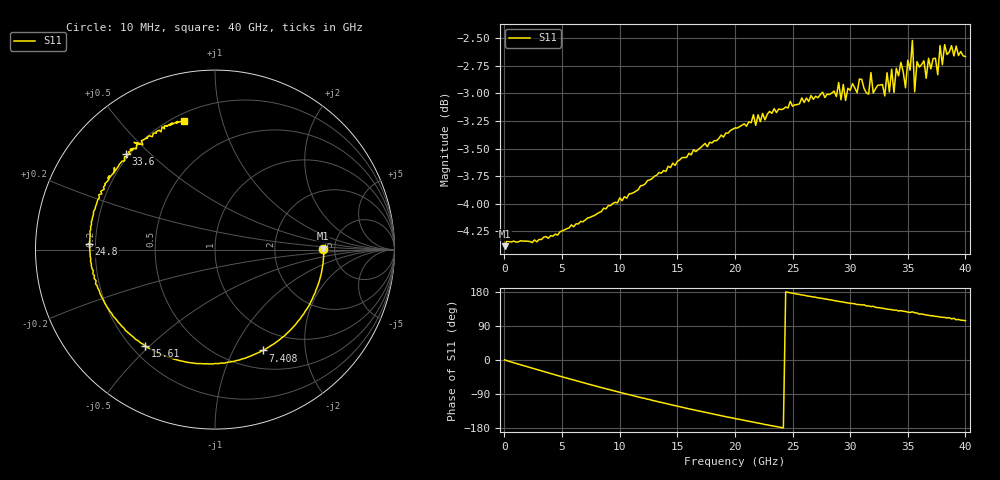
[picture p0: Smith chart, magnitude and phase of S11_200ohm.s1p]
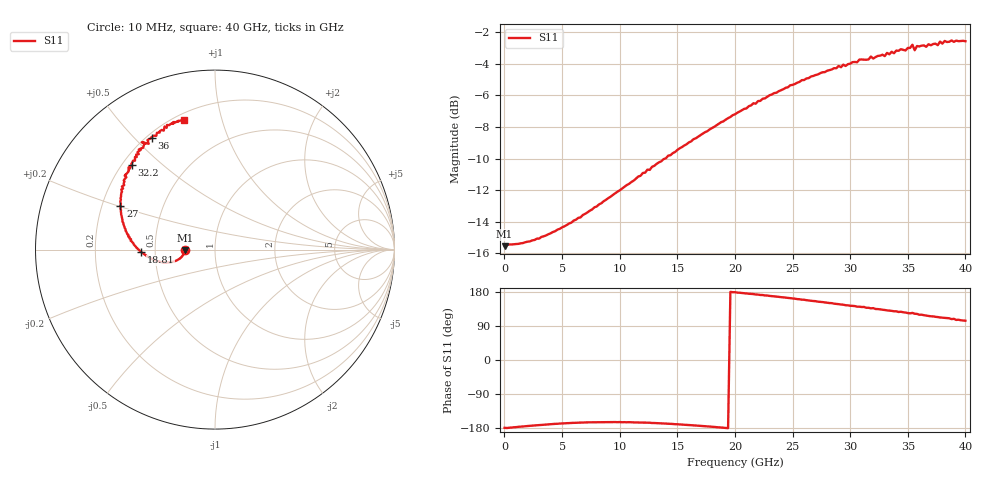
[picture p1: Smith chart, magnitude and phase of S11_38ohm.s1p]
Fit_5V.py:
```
"""
-5 V S11 fitting (Option B procedure) + freq response verification
===================================================================
Cj = 161 fF (C-V @ -5 V, fixed). Rs, C_CPW, FEM L_Rp: bias-independent, locked.
Fit: L_total (common) + L_CPW2 (38, 60) over full 40 GHz S11.
Consistency check vs -7 V fit (L should be bias-independent).
"""
import numpy as np, pandas as pd, os
import matplotlib.pyplot as plt
from scipy.optimize import differential_evolution, minimize

# ── Paper H_ph (locked) ─────────────────────────────────────────────
W_A=480e-9; W_C=980e-9; W=W_A+W_C
tau_A=3.530e-12; tau_C=2.880e-12; tau_R=0.070e-12
def H_ph(w):
    sinc=lambda x: np.sinc(x/np.pi)
    return (W_A*(2+1j*w*tau_R)/(2*(1+1j*w*tau_R))+W_C*sinc(w*tau_C/2)*np.exp(-1j*w*tau_C/2))/(W*(1+1j*w*tau_A))

C_CPW=46.53e-15; R_L=50.0; Rs=8.92
Cj = 161.0e-15    # C-V @ -5 V (user)

def _Y_Rp(w,Rp,Lrp):
    return 0.0 if np.isinf(Rp) else 1.0/(Rp+1j*w*Lrp)
def sim_S11(w,Rp,Lcpw,Lrp,Lcpw2):
    Zs=Rs+1j*w*Lcpw2
    Z_dev=Zs+1/(1j*w*Cj)
    Y_n=1j*w*C_CPW+_Y_Rp(w,Rp,Lrp)+1/Z_dev
    Z_in=1j*w*Lcpw+1/Y_n
    return (Z_in-50)/(Z_in+50)
def H_ckt(w,Rp,Lcpw,Lrp,Lcpw2):
    Zs=Rs+1j*w*Lcpw2
    Y_A=1j*w*C_CPW+_Y_Rp(w,Rp,Lrp)+1/(1j*w*Lcpw+R_L)
    return (R_L/(1j*w*Lcpw+R_L))/(1j*w*Cj+Y_A*(1+1j*w*Cj*Zs))
def get_bw(f,Hd):
    idx=np.where(Hd<=-3)[0]
    return f[idx[0]]/1e9 if len(idx) else np.nan

# ── Load -5 V S1P ───────────────────────────────────────────────────
def load_s1p(path):
    rows=[]
    with open(path) as f:
        for line in f:
            line=line.strip()
            if not line or line.startswith(('!','#')): continue
            p=line.split()
            if len(p)>=3: rows.append([float(p[0]),float(p[1]),float(p[2])])
    a=np.array(rows)
    S=10**(a[:,1]/20)*np.exp(1j*np.deg2rad(a[:,2]))
    return a[:,0], S

configs=[
    dict(lbl='Rp=200Ω', Rp=200.0, s1p='data_5V_5mA/S11_200ohm.s1p', fr='data_5V_5mA/200ohm.xlsx',
         col='#888888', mk='D', Lrp=153.7e-12, has_L2=False),
    dict(lbl='Rp=38Ω',  Rp=38.0,  s1p='data_5V_5mA/S11_38ohm.s1p',  fr='data_5V_5mA/38ohm.xlsx',
         col='#1B998B', mk='o', Lrp=65.6e-12,  has_L2=True),
    dict(lbl='Rp=60Ω',  Rp=60.0,  s1p='data_5V_5mA/S11_60ohm.s1p',  fr='data_5V_5mA/60ohm.xlsx',
         col='#FF8C00', mk='s', Lrp=71.8e-12,  has_L2=True),
    dict(lbl='Open',    Rp=np.inf,s1p='data_5V_5mA/S11_WO.s1p',     fr='data_5V_5mA/WO.xlsx',
         col='#E91E8C', mk='^', Lrp=0.0,       has_L2=False),
]
for cfg in configs:
    fr,S=load_s1p(cfg['s1p'])
    cfg['fs11']=fr; cfg['S11m']=S; cfg['ws']=2*np.pi*fr

def load_fr(path):
    df=pd.read_excel(path,header=14)
    f=pd.to_numeric(df.iloc[:,0],errors='coerce'); cal=pd.to_numeric(df.iloc[:,6],errors='coerce')
    m=f.notna()&cal.notna(); f,cal=f[m].values*1e9,cal[m].values
    pm=cal-cal[0]; keep=pm<2.0
    return f[keep],pm[keep]

# ── Option B fit at -5 V: [L_total, L2_38, L2_60] ───────────────────
def cost(p):
    L_tot,L2_38,L2_60=p
    if L2_38<0 or L2_60<0 or L2_38>L_tot or L2_60>L_tot: return 1e6
    tot=0.0
    for cfg in configs:
        L2 = L2_38 if cfg['lbl']=='Rp=38Ω' else (L2_60 if cfg['lbl']=='Rp=60Ω' else 0.0)
        S=sim_S11(cfg['ws'],cfg['Rp'],L_tot-L2,cfg['Lrp'],L2)
        tot+=np.mean(np.abs(S-cfg['S11m'])**2)
    return tot

bounds=[(120e-12,300e-12),(0,120e-12),(0,120e-12)]
res=differential_evolution(cost,bounds,seed=42,maxiter=3000,tol=1e-16,polish=False)
pol=minimize(cost,res.x,method='L-BFGS-B',bounds=bounds,
             options={'ftol':1e-20,'gtol':1e-16,'maxiter':50000})
L_tot,L2_38,L2_60=pol.x

print('='*100)
print(f'-5 V S11 fit (Option B)  |  Cj={Cj*1e15:.0f} fF fixed, FEM L_Rp, Rs={Rs}, C_CPW={C_CPW*1e15:.2f} fF')
print('='*100)
print(f'{"Param":>14} | {"-5 V fit":>10} | {"-7 V fit":>10} | consistency')
print('-'*60)
print(f'{"L_total":>14} | {L_tot*1e12:>8.1f}pH | {197.9:>8.1f}pH | Δ={L_tot*1e12-197.9:+.1f} pH')
print(f'{"L_CPW2 (38Ω)":>14} | {L2_38*1e12:>8.1f}pH | {56.3:>8.1f}pH | Δ={L2_38*1e12-56.3:+.1f} pH')
print(f'{"L_CPW2 (60Ω)":>14} | {L2_60*1e12:>8.1f}pH | {48.0:>8.1f}pH | Δ={L2_60*1e12-48.0:+.1f} pH')

f_plot=np.linspace(0.1e9,45e9,4000); w_plot=2*np.pi*f_plot
print()
print(f'{"Device":>10} | {"L_CPW":>7} | {"L_CPW2":>7} | {"RMS_S11":>8} | {"BW model":>8} | {"BW meas":>8} | {"RMS_H":>6}')
print('-'*80)

def draw_smith(ax,lw=0.6):
    ax.set_xlim(-1.08,1.08); ax.set_ylim(-1.08,1.08)
    ax.set_aspect('equal'); ax.axis('off')
    ax.add_patch(plt.Circle((0,0),1,fill=False,color='#888',lw=lw+0.3))
    ax.axhline(0,color='#888',lw=lw,zorder=0)
    for r in [0.2,0.5,1,2,5]:
        cx,rad=r/(r+1),1/(r+1)
        ax.add_patch(plt.Circle((cx,0),rad,fill=False,color='#aaa',lw=lw,ls=':',zorder=0))
    th=np.linspace(0,np.pi,400)
    for x in [0.2,0.5,1,2,5]:
        for sg in [1,-1]:
            xx=1+ (1/x)*np.cos(th); yy=sg/x+(1/x)*np.sin(th)*sg
            m=(xx**2+yy**2<=1.002); ax.plot(xx[m],yy[m],color='#aaa',lw=lw,ls=':',zorder=0)

fig,axes=plt.subplots(3,4,figsize=(20,14))
fig.suptitle(f'-5 V S11 fit (Option B, Cj=161 fF)  |  L_total={L_tot*1e12:.1f} pH  '
             f'(vs 197.9 pH @ -7 V)\nRow1: Smith  Row2: |S11| dB  Row3: Freq response (-5 V, 5 mA)',
             fontsize=11,fontweight='bold')

os.makedirs('origin_data_5V_5mA',exist_ok=True)
Z0=50.0
for ci,cfg in enumerate(configs):
    L2 = L2_38 if cfg['lbl']=='Rp=38Ω' else (L2_60 if cfg['lbl']=='Rp=60Ω' else 0.0)
    Lc = L_tot-L2
    S=sim_S11(cfg['ws'],cfg['Rp'],Lc,cfg['Lrp'],L2)
    rms=np.sqrt(np.mean(np.abs(S-cfg['S11m'])**2))
    fm,pm=load_fr(cfg['fr']); wm=2*np.pi*fm
    Hm=H_ph(wm)*H_ckt(wm,cfg['Rp'],Lc,cfg['Lrp'],L2)
    Hp=H_ph(w_plot)*H_ckt(w_plot,cfg['Rp'],Lc,cfg['Lrp'],L2)
    Hd_m=20*np.log10(np.abs(Hm)/np.abs(Hm[0]))
    Hd_p=20*np.log10(np.abs(Hp)/np.abs(Hp[0]))
    rms_H=np.sqrt(np.mean((Hd_m-pm)**2)); bw=get_bw(f_plot,Hd_p)
    i3=np.where(pm<=-3)[0]; bwm=fm[i3[0]]/1e9 if len(i3) else np.nan
    bwm_s=f'{bwm:.1f}' if not np.isnan(bwm) else f'>{fm[-1]/1e9:.0f}'
    print(f'{cfg["lbl"]:>10} | {Lc*1e12:>6.1f}pH | {L2*1e12:>6.1f}pH | {rms:>8.5f} | '
          f'{bw:>7.1f}G | {bwm_s:>7}G | {rms_H:>6.2f}')

    ax=axes[0,ci]; draw_smith(ax)
    ax.scatter(cfg['S11m'].real,cfg['S11m'].imag,s=10,color=cfg['col'],zorder=6,label='Meas -5V')
    ax.plot(S.real,S.imag,'--',color='k',lw=1.5,zorder=5,label='Fit')
    ax.set_title(f'{cfg["lbl"]}\nRMS|ΔΓ|={rms:.4f}',fontsize=10,fontweight='bold')
    ax.legend(fontsize=8.5,loc='lower left',framealpha=0.85,edgecolor='none',
              handlelength=1.5,markerscale=1.5)

    ax=axes[1,ci]
    ax.plot(cfg['fs11']/1e9,20*np.log10(np.abs(cfg['S11m'])),'-',color=cfg['col'],lw=1.0,label='Meas')
    ax.plot(cfg['fs11']/1e9,20*np.log10(np.abs(S)),'--',color='k',lw=1.4,label='Fit')
    ax.set_xlabel('Frequency (GHz)'); ax.set_ylabel('|S11| (dB)')
    ax.set_xlim(0,40); ax.legend(fontsize=8.5,loc='lower right'); ax.grid(True,alpha=0.3)

    ax=axes[2,ci]
    ax.scatter(fm/1e9,pm,color='k',marker=cfg['mk'],s=22,edgecolors=cfg['col'],
               linewidths=1.0,zorder=5,label='Meas (5 mA)')
    ax.plot(f_plot/1e9,Hd_p,'-',color=cfg['col'],lw=2.0,
            label=f'Model BW={bw:.1f}G, RMS={rms_H:.2f}dB')
    ax.axhline(-3,color='gray',ls=':',lw=0.7,alpha=0.7)
    ax.set_xlabel('Frequency (GHz)'); ax.set_ylabel('Norm. H (dB)')
    ax.set_xlim(0,45); ax.set_ylim(-15,3)
    ax.legend(fontsize=8.5,loc='lower left'); ax.grid(True,alpha=0.3)

    # Origin export
    t=cfg['lbl'].replace('Ω','ohm').replace('=','_')
    zm=(1+cfg['S11m'])/(1-cfg['S11m']); zf=(1+S)/(1-S)
    with open(f'origin_data_5V_5mA/s11_{t}.txt','w') as fp:
        fp.write('Freq_GHz\tS11_meas_dB\tS11_meas_deg\tS11_fit_dB\tS11_fit_deg\n')
        for i in range(len(cfg['fs11'])):
            fp.write(f'{cfg["fs11"][i]/1e9:.6g}\t{20*np.log10(abs(cfg["S11m"][i])):.6g}\t'
                     f'{np.angle(cfg["S11m"][i],deg=True):.6g}\t'
                     f'{20*np.log10(abs(S[i])):.6g}\t{np.angle(S[i],deg=True):.6g}\n')
    with open(f'origin_data_5V_5mA/impedance_{t}.txt','w') as fp:
        fp.write('Freq_GHz\tr_meas\tx_meas\tr_fit\tx_fit\tR_meas_ohm\tX_meas_ohm\tR_fit_ohm\tX_fit_ohm\n')
        for i in range(len(cfg['fs11'])):
            fp.write(f'{cfg["fs11"][i]/1e9:.6g}\t{zm.real[i]:.6g}\t{zm.imag[i]:.6g}\t'
                     f'{zf.real[i]:.6g}\t{zf.imag[i]:.6g}\t{zm.real[i]*Z0:.6g}\t{zm.imag[i]*Z0:.6g}\t'
                     f'{zf.real[i]*Z0:.6g}\t{zf.imag[i]*Z0:.6g}\n')
    with open(f'origin_data_5V_5mA/freqresp_fit_{t}.txt','w') as fp:
        fp.write('Freq_GHz\tNorm_dB_meas\tNorm_dB_model\n')
        for i in range(len(fm)):
            fp.write(f'{fm[i]/1e9:.6g}\t{pm[i]:.6g}\t{Hd_m[i]:.6g}\n')

fig.tight_layout()
fig.savefig('Fit_5V_result.png',dpi=150,bbox_inches='tight')
print('\nSaved: Fit_5V_result.png + origin_data_5V_5mA/{s11,impedance,freqresp_fit}_*.txt')
```
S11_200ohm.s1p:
!Agilent Technologies,N5227A,US51270434,A.10.00.00
!Agilent N5227A: A.10.00.00
!Date: Monday, March 30, 2026 11:35:38
!Correction: S11(Full 1 Port(1))
!S1P File: Measurement: S11:
# Hz S  dB  R 50
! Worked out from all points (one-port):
!   201 points, 10 MHz to 40 GHz, reference 50 ohm
!   lowest |S11| = -4.4 dB at 10 MHz (marker M1), VSWR 4.05, Z = 202 + j2.75 ohm
!   |S11| at or under -10 dB: nowhere
!   S11 on the Smith chart (normalised r, x): 10 MHz: 4.05, +0.06; 7.408 GHz: 0.72, -1.32; 15.61 GHz: 0.25, -0.48; 24.8 GHz: 0.18, +0.02; 33.6 GHz: 0.19, +0.42; 40 GHz: 0.24, +0.76
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1e7  -4.38 0.4
3.40915e9  -4.30 -30.4
7.40815e9  -4.12 -64.6
1.00075e10  -3.95 -85.3
1.340665e10  -3.72 -110.6
1.56061e10  -3.58 -126.1
1.980505e10  -3.32 -153.4
2.48038e10  -3.07 177.5
2.68033e10  -3.05 166.3
3.36016e10  -2.78 132.9
3.52012e10  -2.79 125.5
3.540115e10  -2.52 127.1
3.6001e10  -2.76 121.1
4e10  -2.67 103.7
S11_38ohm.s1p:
!Agilent Technologies,N5227A,US51270434,A.10.00.00
!Agilent N5227A: A.10.00.00
!Date: Monday, March 30, 2026 11:27:45
!Correction: S11(Full 1 Port(1))
!S1P File: Measurement: S11:
# Hz S  dB  R 50
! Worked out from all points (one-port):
!   201 points, 10 MHz to 40 GHz, reference 50 ohm
!   lowest |S11| = -15.5 dB at 10 MHz (marker M1), VSWR 1.40, Z = 35.7 - j0.205 ohm
!   |S11| at or under -10 dB: start of sweep to 13.95 GHz
!   S11 on the Smith chart (normalised r, x): 10 MHz: 0.71, -0.00; 18.81 GHz: 0.42, -0.01; 27 GHz: 0.28, +0.20; 32.2 GHz: 0.24, +0.40; 36 GHz: 0.22, +0.56; 40 GHz: 0.24, +0.76
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1e7  -15.54 -179.0
5.80855e9  -14.05 -166.1
1.340665e10  -10.24 -166.9
1.88053e10  -7.70 -178.2
2.28043e10  -6.09 170.1
2.68033e10  -4.78 155.6
2.700325e10  -4.72 155.2
3.08023e10  -3.74 140.7
3.220195e10  -3.59 134.6
3.52012e10  -3.01 123.1
3.540115e10  -2.81 124.3
3.56011e10  -3.15 122.1
3.6001e10  -2.91 119.5
4e10  -2.58 103.6
